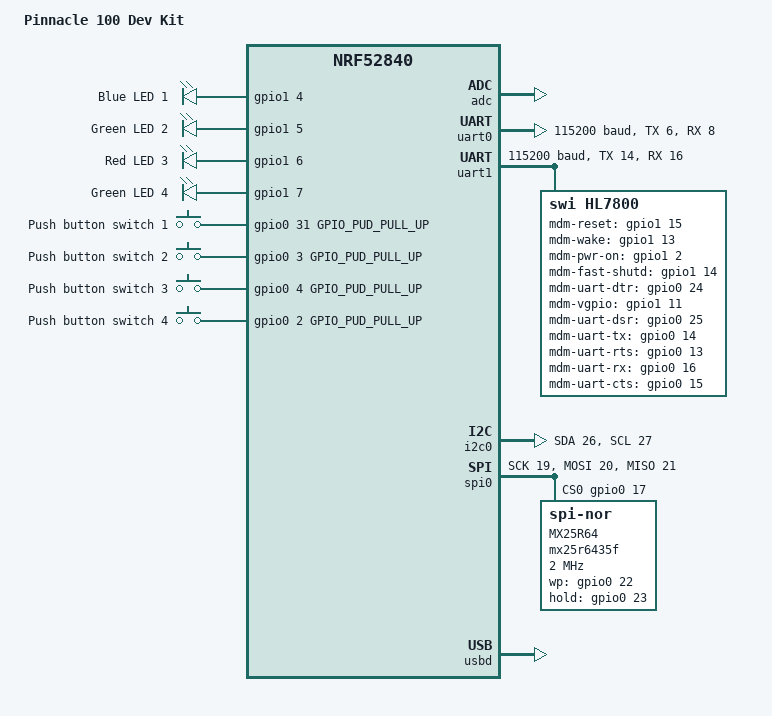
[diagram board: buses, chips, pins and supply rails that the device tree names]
/*
 * Copyright (c) 2019 Laird Connectivity
 *
 * SPDX-License-Identifier: Apache-2.0
 */

/dts-v1/;
#include <nordic/nrf52840_qiaa.dtsi>

/ {
	model = "Pinnacle 100 Dev Kit";
	compatible = "laird,pinnacle100-dvk", "nordic,nrf52840-qiaa",
		     "nordic,nrf52840";

	chosen {
		zephyr,console = &uart0;
		zephyr,shell-uart = &uart0;
		zephyr,uart-mcumgr = &uart0;
		zephyr,sram = &sram0;
		zephyr,flash = &flash0;
		zephyr,code-partition = &slot0_partition;
	};

	leds {
		compatible = "gpio-leds";
		led1: led_1 {
			gpios = <&gpio1 4 GPIO_INT_ACTIVE_HIGH>;
			label = "Blue LED 1";
		};
		led2: led_2 {
			gpios = <&gpio1 5 GPIO_INT_ACTIVE_HIGH>;
			label = "Green LED 2";
		};
		led3: led_3 {
			gpios = <&gpio1 6 GPIO_INT_ACTIVE_HIGH>;
			label = "Red LED 3";
		};
		led4: led_4 {
			gpios = <&gpio1 7 GPIO_INT_ACTIVE_HIGH>;
			label = "Green LED 4";
		};
	};

	buttons {
		compatible = "gpio-keys";
		button1: button_1 {
			gpios = <&gpio0 31 GPIO_PUD_PULL_UP>;
			label = "Push button switch 1";
		};
		button2: button_2 {
			gpios = <&gpio0 3 GPIO_PUD_PULL_UP>;
			label = "Push button switch 2";
		};
		button3: button_3 {
			gpios = <&gpio0 4 GPIO_PUD_PULL_UP>;
			label = "Push button switch 3";
		};
		button4: button_4 {
			gpios = <&gpio0 2 GPIO_PUD_PULL_UP>;
			label = "Push button switch 4";
		};
	};

	/* These aliases are provided for compatibility with samples */
	aliases {
		led0 = &led1;
		led1 = &led2;
		led2 = &led3;
		led3 = &led4;
		sw0 = &button1;
		sw1 = &button2;
		sw2 = &button3;
		sw3 = &button4;
	};
};

&adc {
	status ="ok";
};

&gpiote {
	status ="ok";
};

&gpio0 {
	status ="ok";
};

&gpio1 {
	status ="ok";
};

&uart0 {
	compatible = "nordic,nrf-uart";
	current-speed = <115200>;
	status = "ok";
	tx-pin = <6>;
	rx-pin = <8>;
	rts-pin = <5>;
	cts-pin = <7>;
};

&uart1 {
	current-speed = <115200>;
	status = "ok";
	tx-pin = <14>;
	rx-pin = <16>;
	rts-pin = <13>;
	cts-pin = <15>;
	hl7800 {
		compatible = "swi,hl7800";
		label = "hl7800";
		mdm-reset-gpios = <&gpio1 15 0>;
		mdm-wake-gpios = <&gpio1 13 0>;
		mdm-pwr-on-gpios = <&gpio1 2 0>;
		mdm-fast-shutd-gpios = <&gpio1 14 0>;
		mdm-uart-dtr-gpios = <&gpio0 24 0>;
		mdm-vgpio-gpios = <&gpio1 11 0>;
		mdm-uart-dsr-gpios = <&gpio0 25 0>;
		mdm-uart-tx-gpios = <&gpio0 14 0>;
		mdm-uart-rts-gpios = <&gpio0 13 0>;
		mdm-uart-rx-gpios = <&gpio0 16 0>;
		mdm-uart-cts-gpios = <&gpio0 15 0>;
		status = "ok";
	};    
};

&i2c0 {
	status = "ok";
	sda-pin = <26>;
	scl-pin = <27>;
};

&spi0 {
	status = "ok";
	sck-pin = <19>;
	mosi-pin = <20>;
	miso-pin = <21>;
	cs-gpios = <&gpio0 17 0>;
	mx25r6435f@0 {
		compatible = "jedec,spi-nor";
		reg = <0>;
		spi-max-frequency = <2000000>;
		label = "MX25R64";
		jedec-id = <0xc2 0x28 0x17>;
		size = <67108864>;
		wp-gpios = <&gpio0 22 0>;
		hold-gpios = <&gpio0 23 0>;
		erase-block-size = <4096>;
		write-block-size = <256>;
	};
};

&flash0 {
	/*
	 * For more information, see:
	 * http://docs.zephyrproject.org/latest/guides/dts/index.html#flash-partitions
	 */
	partitions {
		compatible = "fixed-partitions";
		#address-cells = <1>;
		#size-cells = <1>;

		mbr_partition: partition@0 {
			label = "nordic-mbr";
			reg = <0x000000000 0x00001000>;
		};
		slot0_partition: partition@1000 {
			label = "app-img";
			reg = <0x00001000 0x0000CE000>;
		};
		/*
		 * The flash starting at 0x000cf000 and ending at
		 * 0x000d7000 is reserved for use by the application.
		 */
		/* Storage partition will be used by FCB/NFFS/NVS if enabled. */
		storage_partition: partition@CF000 {
			label = "storage";
			reg = <0x000CF000 0x00008000>;
		};
		boot_upgrade_partition: partition@D7000 {
			label = "boot-upgrade";
			reg = <0x000D7000 0x000013000>;
		};
		bootloader_partition: partition@EA000 {
			label = "bootloader-img";
			reg = <0x000EA000 0x000016000>;
		};
	};
};

&usbd {
	compatible = "nordic,nrf-usbd";
	status = "ok";
};
